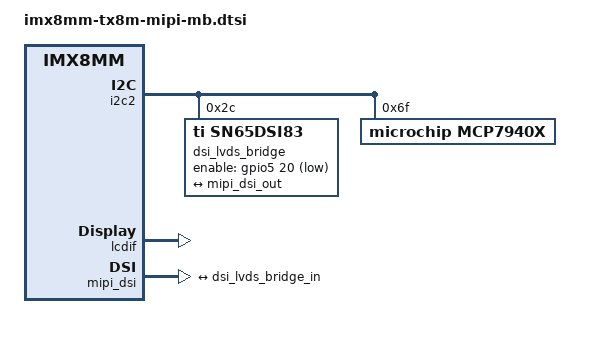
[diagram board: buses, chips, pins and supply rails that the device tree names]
// SPDX-License-Identifier: (GPL-2.0 OR MIT)
/*
 * Copyright 2019 Lothar Waßmann <LW@KARO-electronics.de>
 *
 */

#include <dt-bindings/interrupt-controller/irq.h>
#include <dt-bindings/pwm/pwm.h>
#include "imx8mm-tx8m-lvds-mb.dtsi"

&i2c2 {
	dsi_lvds_bridge: sn65dsi84@2c {
		compatible = "ti,sn65dsi83";
		reg = <0x2c>;
		ti,dsi-lanes = <4>;
		ti,lvds-format = <2>;
		ti,lvds-bpp = <24>;
		ti,width-mm = <217>;
		ti,height-mm = <136>;
		enable-gpios = <&gpio5 20 GPIO_ACTIVE_LOW>;
		pinctrl-names = "default";
		pinctrl-0 = <&pinctrl_lvds>;
		status = "okay";

		display-timings {
			lvds {
				clock-frequency = <62500000>;
				hactive = <1280>;
				vactive = <800>;
				hback-porch = <6>;
				hfront-porch = <5>;
				vback-porch = <2>;
				vfront-porch = <3>;
				hsync-len = <2>;
				vsync-len = <1>;
				hsync-active = <0>;
				vsync-active = <0>;
				de-active = <0>;
				pixelclk-active = <0>;
			};
		};

		port {
			dsi_lvds_bridge_in: endpoint {
				remote-endpoint = <&mipi_dsi_out>;
			};
		};
	};

	mcp7940x@6f {
		compatible = "microchip,mcp7940x";
		reg = <0x6f>;
	};
};

&lcdif {
	status = "okay";
};

&mipi_dsi {
	status = "okay";

	port@1 {
		mipi_dsi_out: endpoint {
			remote-endpoint = <&dsi_lvds_bridge_in>;
			attach-bridge;
		};
	};
};

&iomuxc {
	pinctrl_lvds: lvdsgrp {
		fsl,pins = <
			MX8MM_IOMUXC_I2C4_SCL_GPIO5_IO20		0x146
		>;
	};
};
